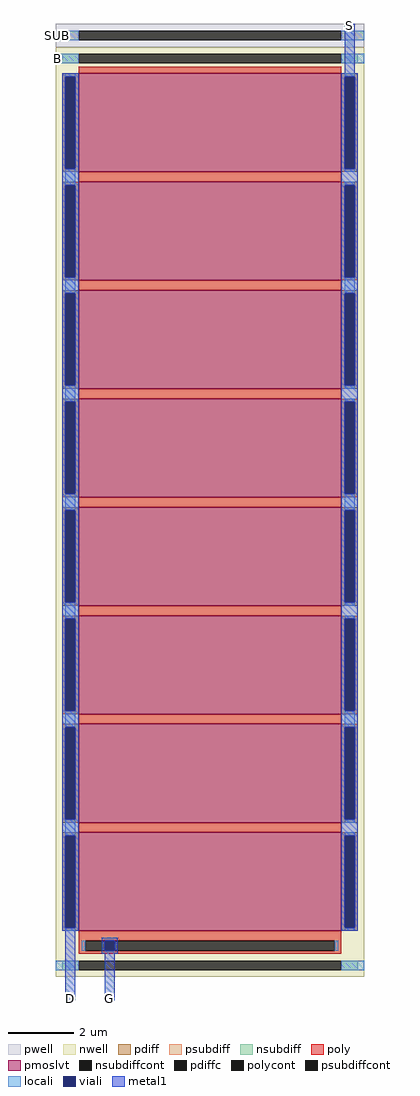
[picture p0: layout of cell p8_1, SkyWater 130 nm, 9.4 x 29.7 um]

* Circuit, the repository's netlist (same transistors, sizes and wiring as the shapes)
* NGSPICE file created from p8_1.ext - technology: sky130A

.subckt p8_1 D G S B SUB
X0 S G D B sky130_fd_pr__pfet_01v8_lvt ad=1.2e+13p pd=5.6e+07u as=1.2e+13p ps=5.6e+07u w=3e+06u l=8e+06u
X1 S G D B sky130_fd_pr__pfet_01v8_lvt ad=0p pd=0u as=0p ps=0u w=3e+06u l=8e+06u
X2 S G D B sky130_fd_pr__pfet_01v8_lvt ad=0p pd=0u as=0p ps=0u w=3e+06u l=8e+06u
X3 S G D B sky130_fd_pr__pfet_01v8_lvt ad=0p pd=0u as=0p ps=0u w=3e+06u l=8e+06u
X4 S G D B sky130_fd_pr__pfet_01v8_lvt ad=0p pd=0u as=0p ps=0u w=3e+06u l=8e+06u
X5 S G D B sky130_fd_pr__pfet_01v8_lvt ad=0p pd=0u as=0p ps=0u w=3e+06u l=8e+06u
X6 S G D B sky130_fd_pr__pfet_01v8_lvt ad=0p pd=0u as=0p ps=0u w=3e+06u l=8e+06u
X7 S G D B sky130_fd_pr__pfet_01v8_lvt ad=0p pd=0u as=0p ps=0u w=3e+06u l=8e+06u
.ends

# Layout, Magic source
magic
tech sky130A
<< nwell >>
rect 0 70 940 2900
<< pwell >>
rect 0 2900 940 2970
<< pmoslvt >>
rect 70 2520 870 2820
rect 70 2190 870 2490
rect 70 1860 870 2160
rect 70 1530 870 1830
rect 70 1200 870 1500
rect 70 870 870 1170
rect 70 540 870 840
rect 70 210 870 510
<< pdiff >>
rect 20 2810 70 2820
rect 20 2530 30 2810
rect 60 2530 70 2810
rect 20 2520 70 2530
rect 870 2810 920 2820
rect 870 2530 880 2810
rect 910 2530 920 2810
rect 870 2520 920 2530
rect 20 2480 70 2490
rect 20 2200 30 2480
rect 60 2200 70 2480
rect 20 2190 70 2200
rect 870 2480 920 2490
rect 870 2200 880 2480
rect 910 2200 920 2480
rect 870 2190 920 2200
rect 20 2150 70 2160
rect 20 1870 30 2150
rect 60 1870 70 2150
rect 20 1860 70 1870
rect 870 2150 920 2160
rect 870 1870 880 2150
rect 910 1870 920 2150
rect 870 1860 920 1870
rect 20 1820 70 1830
rect 20 1540 30 1820
rect 60 1540 70 1820
rect 20 1530 70 1540
rect 870 1820 920 1830
rect 870 1540 880 1820
rect 910 1540 920 1820
rect 870 1530 920 1540
rect 20 1490 70 1500
rect 20 1210 30 1490
rect 60 1210 70 1490
rect 20 1200 70 1210
rect 870 1490 920 1500
rect 870 1210 880 1490
rect 910 1210 920 1490
rect 870 1200 920 1210
rect 20 1160 70 1170
rect 20 880 30 1160
rect 60 880 70 1160
rect 20 870 70 880
rect 870 1160 920 1170
rect 870 880 880 1160
rect 910 880 920 1160
rect 870 870 920 880
rect 20 830 70 840
rect 20 550 30 830
rect 60 550 70 830
rect 20 540 70 550
rect 870 830 920 840
rect 870 550 880 830
rect 910 550 920 830
rect 870 540 920 550
rect 20 500 70 510
rect 20 220 30 500
rect 60 220 70 500
rect 20 210 70 220
rect 870 500 920 510
rect 870 220 880 500
rect 910 220 920 500
rect 870 210 920 220
<< pdiffc >>
rect 30 2530 60 2810
rect 880 2530 910 2810
rect 30 2200 60 2480
rect 880 2200 910 2480
rect 30 1870 60 2150
rect 880 1870 910 2150
rect 30 1540 60 1820
rect 880 1540 910 1820
rect 30 1210 60 1490
rect 880 1210 910 1490
rect 30 880 60 1160
rect 880 880 910 1160
rect 30 550 60 830
rect 880 550 910 830
rect 30 220 60 500
rect 880 220 910 500
<< psubdiff >>
rect 0 2920 70 2950
rect 870 2920 940 2950
<< nsubdiff >>
rect 20 2850 70 2880
rect 870 2850 920 2880
rect 20 90 70 120
rect 870 90 920 120
<< psubdiffcont >>
rect 70 2920 870 2950
<< nsubdiffcont >>
rect 70 2850 870 2880
rect 70 90 870 120
<< poly >>
rect 70 2820 870 2840
rect 70 2490 870 2520
rect 70 2160 870 2190
rect 70 1830 870 1860
rect 70 1500 870 1530
rect 70 1170 870 1200
rect 70 840 870 870
rect 70 510 870 540
rect 70 180 870 210
rect 70 150 90 180
rect 850 150 870 180
rect 70 140 870 150
<< polycont >>
rect 90 150 850 180
<< locali >>
rect 0 2920 70 2950
rect 870 2920 940 2950
rect 0 2850 70 2880
rect 870 2850 940 2880
rect 30 2810 60 2820
rect 30 2480 60 2530
rect 880 2810 910 2820
rect 880 2520 910 2530
rect 30 2150 60 2200
rect 30 1820 60 1870
rect 880 2480 910 2490
rect 880 2150 910 2200
rect 880 1860 910 1870
rect 30 1490 60 1540
rect 30 1160 60 1210
rect 880 1820 910 1830
rect 880 1490 910 1540
rect 880 1200 910 1210
rect 30 830 60 880
rect 30 500 60 550
rect 880 1160 910 1170
rect 880 830 910 880
rect 880 540 910 550
rect 30 210 60 220
rect 880 500 910 510
rect 880 210 910 220
rect 80 150 90 180
rect 850 150 860 180
rect 0 90 70 120
rect 870 90 940 120
<< viali >>
rect 30 2530 60 2810
rect 880 2530 910 2810
rect 30 2200 60 2480
rect 30 1870 60 2150
rect 880 2200 910 2480
rect 880 1870 910 2150
rect 30 1540 60 1820
rect 30 1210 60 1490
rect 880 1540 910 1820
rect 880 1210 910 1490
rect 30 880 60 1160
rect 30 550 60 830
rect 880 880 910 1160
rect 880 550 910 830
rect 30 220 60 500
rect 880 220 910 500
rect 150 150 180 180
<< metal1 >>
rect 880 2820 910 2970
rect 20 2810 70 2820
rect 20 2530 30 2810
rect 60 2530 70 2810
rect 20 2480 70 2530
rect 20 2200 30 2480
rect 60 2200 70 2480
rect 20 2150 70 2200
rect 20 1870 30 2150
rect 60 1870 70 2150
rect 20 1820 70 1870
rect 20 1540 30 1820
rect 60 1540 70 1820
rect 20 1490 70 1540
rect 20 1210 30 1490
rect 60 1210 70 1490
rect 20 1160 70 1210
rect 20 880 30 1160
rect 60 880 70 1160
rect 20 830 70 880
rect 20 550 30 830
rect 60 550 70 830
rect 20 500 70 550
rect 20 220 30 500
rect 60 220 70 500
rect 20 210 70 220
rect 870 2810 920 2820
rect 870 2530 880 2810
rect 910 2530 920 2810
rect 870 2480 920 2530
rect 870 2200 880 2480
rect 910 2200 920 2480
rect 870 2150 920 2200
rect 870 1870 880 2150
rect 910 1870 920 2150
rect 870 1820 920 1870
rect 870 1540 880 1820
rect 910 1540 920 1820
rect 870 1490 920 1540
rect 870 1210 880 1490
rect 910 1210 920 1490
rect 870 1160 920 1210
rect 870 880 880 1160
rect 910 880 920 1160
rect 870 830 920 880
rect 870 550 880 830
rect 910 550 920 830
rect 870 500 920 550
rect 870 220 880 500
rect 910 220 920 500
rect 870 210 920 220
rect 30 0 60 210
rect 140 180 190 190
rect 140 150 150 180
rect 180 150 190 180
rect 140 140 190 150
rect 150 0 180 140
<< labels >>
rlabel metal1 30 0 60 10 1 D
port 1 n
rlabel metal1 150 0 180 10 1 G
port 2 n
rlabel metal1 880 2960 910 2970 5 S
port 3 s
rlabel locali 0 2850 10 2880 3 B
port 4 e
rlabel locali 0 2920 10 2950 3 SUB
port 5 e
<< end >>
